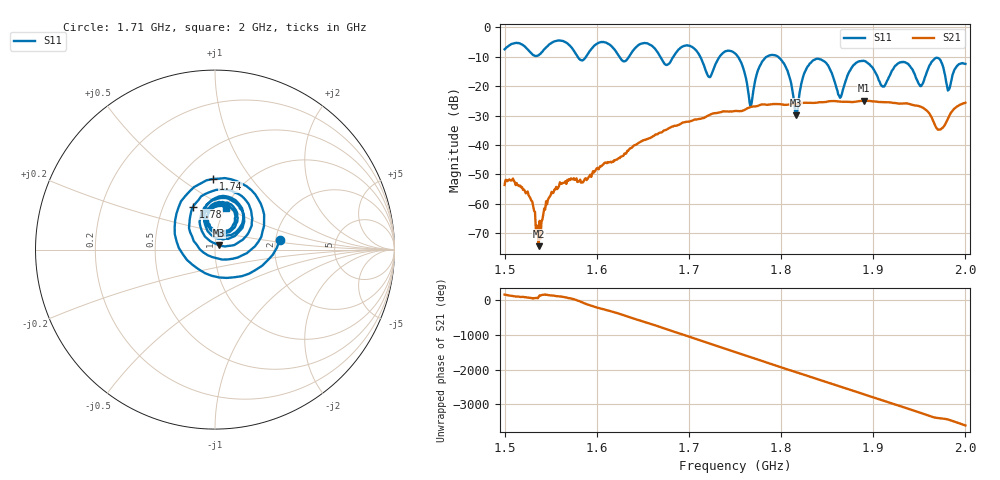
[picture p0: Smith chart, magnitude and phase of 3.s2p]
! NanoVNA-App by SYSJOINT et al v1.1.209 (+OD18)
! Date: 2026-01-21 14:06:43
! Start: 1,5GHz Stop: 2GHz Points: 501
! S-Parameter data: F S11 S21 S12 S22
# Hz S RI R 50
!  Frequency  S11_Real  S11_Imag  S21_Real  S21_Imag  S12_Real  S12_Imag  S22_Real  S22_Imag
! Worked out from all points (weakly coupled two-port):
!   501 points, 1.5 GHz to 2 GHz, reference 50 ohm
!   highest |S21| = -24.93 dB at 1.89 GHz (marker M1); lowest = -74.5 dB at 1.537 GHz (marker M2)
!   lowest |S11| = -29.9 dB at 1.816 GHz (marker M3), VSWR 1.07, Z = 52 + j2.61 ohm
!   |S11| at or under -10 dB: 1.712 GHz to 1.733 GHz (21.01 MHz wide, 1.22 % of centre); 1.753 GHz to 1.784 GHz (31.14 MHz wide, 1.76 % of centre); 1.797 GHz to end of sweep (the widest 3 of 6)
!   S12 and S22 are empty: the file has one direction only
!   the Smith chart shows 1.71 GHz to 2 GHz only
!   S11 on the Smith chart (normalised r, x): 1.71 GHz: 2.10, +0.27; 1.74 GHz: 0.72, +0.67; 1.78 GHz: 0.70, +0.36; 2 GHz: 1.01, +0.50
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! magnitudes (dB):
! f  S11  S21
! 1.5 GHz  -7.5  -53.6
! 1.526 GHz  -7.8  -57.1
! 1.537 GHz  -9.5  -74.5
! 1.553 GHz  -4.9  -56.3
! 1.584 GHz  -11.3  -52.8
! 1.667 GHz  -9.0  -36.1
! 1.71 GHz  -8.8  -31.2
! 1.722 GHz  -16.9  -29.8
! 1.74 GHz  -8.1  -28.6
! 1.75 GHz  -8.8  -28.5
! 1.767 GHz  -27.1  -27.1
! 1.78 GHz  -11.4  -26.2
! 1.802 GHz  -11.9  -26.3
! 1.816 GHz  -29.9  -26.1
! 1.834 GHz  -11.4  -25.7
! 1.864 GHz  -24.0  -25.3
! 1.89 GHz  -11.4  -24.9
! 1.917 GHz  -16.9  -25.5
! 1.952 GHz  -20.0  -27.0
! 1.972 GHz  -10.8  -34.8
! 1.982 GHz  -21.2  -30.5
! 2 GHz  -12.4  -25.6
